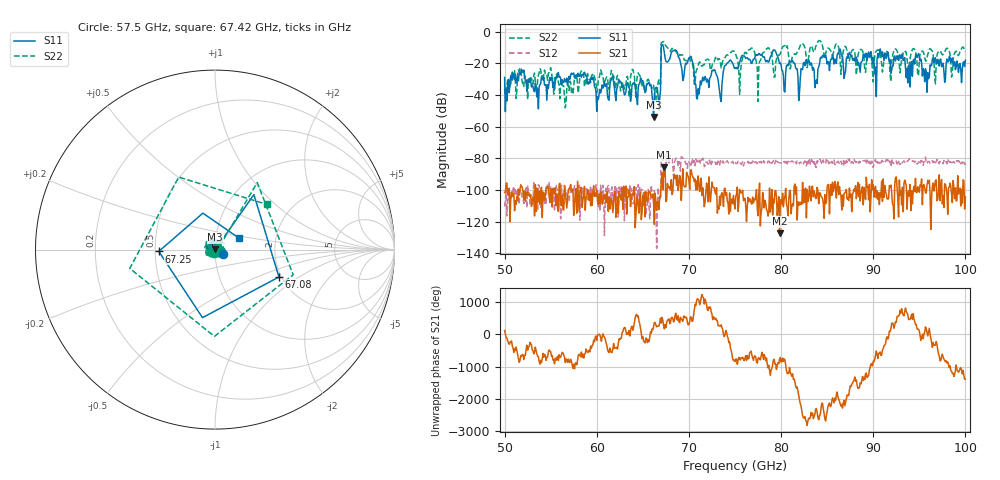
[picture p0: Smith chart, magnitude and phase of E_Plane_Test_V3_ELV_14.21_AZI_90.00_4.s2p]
! 11/26/2026 4:01:45 PM
! C:\ANRITSUVNA\TEMP\TEMP.S2P
! CHANNEL.1
! TR.MEASUREMENT
! RAW.DATA
# HZ S RI R 50.0
! FREQ.HZ  S11RE  S11IM  S21RE  S21IM  S12RE  S12IM  S22RE  S22IM
!; PortSelection: Port_12
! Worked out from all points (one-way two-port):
!   601 points, 50 GHz to 100 GHz, reference 50 ohm
!   highest |S21| = -85.62 dB at 67.25 GHz (marker M1); lowest = -127.4 dB at 79.83 GHz (marker M2)
!   lowest |S11| = -53.9 dB at 66.17 GHz (marker M3), VSWR 1.00, Z = 50.1 + j0.147 ohm
!   |S11| at or under -10 dB: start of sweep to 67 GHz; 67.25 GHz to end of sweep
!   |S22| runs from -48.1 to -5.6 dB; largest |S21 - S12| = 0.00017
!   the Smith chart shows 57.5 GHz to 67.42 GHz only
!   S11 on the Smith chart (normalised r, x): 57.5 GHz: 1.09, -0.05; 67.08 GHz: 1.94, -0.70; 67.25 GHz: 0.52, -0.01; 67.42 GHz: 1.29, +0.17
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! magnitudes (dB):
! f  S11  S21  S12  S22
! 50 GHz  -29.0  -101.6  -110.5  -35.9
! 51.67 GHz  -26.3  -100.2  -100.6  -23.3
! 53.42 GHz  -34.8  -113.5  -101.4  -35.5
! 57.5 GHz  -26.2  -116.1  -100.1  -34.7
! 58.42 GHz  -27.2  -111.0  -98.0  -24.7
! 60.17 GHz  -42.8  -109.4  -110.7  -30.4
! 66.17 GHz  -53.9  -108.3  -102.3  -34.0
! 66.67 GHz  -41.5  -108.6  -98.5  -31.7
! 67.08 GHz  -8.2  -89.3  -82.1  -6.8
! 67.25 GHz  -10.1  -85.6  -77.0  -6.3
! 67.42 GHz  -16.6  -88.0  -79.2  -8.3
! 70.25 GHz  -15.9  -87.2  -85.3  -18.8
! 70.92 GHz  -42.5  -100.0  -82.2  -23.0
! 75 GHz  -23.3  -112.0  -84.2  -13.0
! 75.5 GHz  -19.5  -99.7  -82.6  -39.5
! 79.83 GHz  -20.2  -127.4  -83.0  -14.7
! 83.42 GHz  -24.4  -97.7  -82.6  -10.8
! 91.67 GHz  -16.6  -105.7  -81.2  -15.1
! 93.75 GHz  -32.4  -102.5  -81.5  -21.3
! 94.83 GHz  -15.1  -98.0  -83.3  -27.9
! 95.83 GHz  -38.3  -97.0  -83.3  -16.5
! 100 GHz  -18.0  -104.4  -83.5  -12.5
